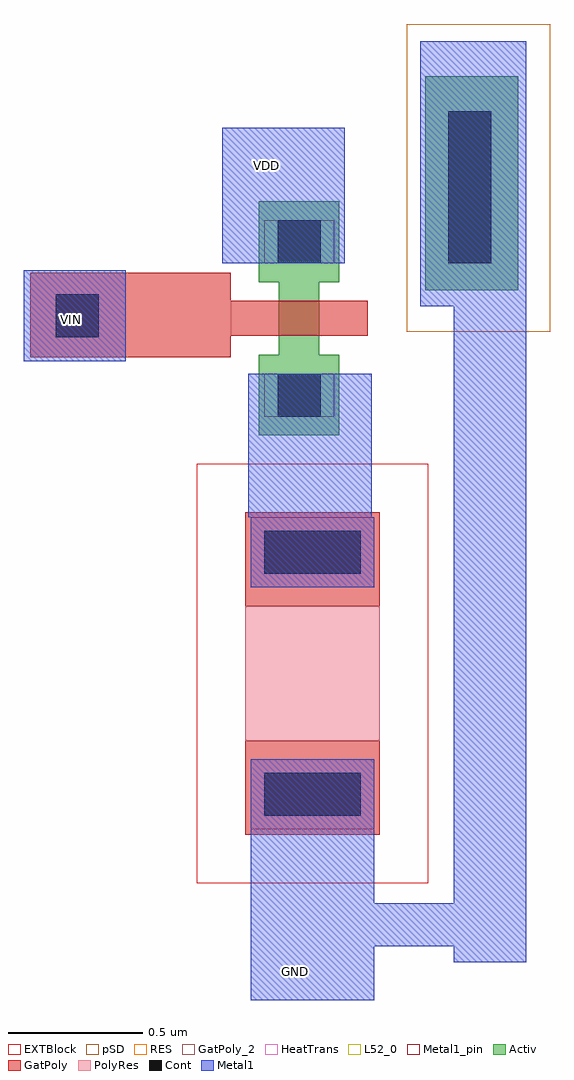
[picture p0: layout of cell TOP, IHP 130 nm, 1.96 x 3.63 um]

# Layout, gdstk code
from math import pi, radians
import gdstk
lib = gdstk.Library(unit=1e-6, precision=1e-09)
def R(c, l, rs):  # rectangles x0, y0, x1, y1
    for r in rs: c.add(gdstk.rectangle(r[:2], r[2:], *l))
Activ = (1, 0)
GatPoly = (5, 0)
GatPoly_2 = (5, 2)
Cont = (6, 0)
Metal1 = (8, 0)
Metal1_pin = (8, 2)
pSD = (14, 0)
RES = (24, 0)
HeatTrans = (51, 0)
L52_0 = (52, 0)
EXTBlock = (111, 0)
PolyRes = (128, 0)

nmos = lib.new_cell('nmos')
R(nmos, Activ, [(0,0,0.3,0.3), (0.57,0,0.87,0.3), (0,0.075,0.87,0.225)])
R(nmos, GatPoly, [(0.37,-0.105,0.5,0.405)])
R(nmos, GatPoly_2, [(0.37,-0.105,0.5,0.405)])
R(nmos, Cont, [(0.07,0.07,0.23,0.23), (0.64,0.07,0.8,0.23)])
R(nmos, Metal1, [(0.07,0.02,0.23,0.28), (0.64,0.02,0.8,0.28)])
R(nmos, Metal1_pin, [(0.07,0.02,0.23,0.28), (0.64,0.02,0.8,0.28)])
R(nmos, HeatTrans, [(0.37,-0.105,0.5,0.405)])
nmos.add(gdstk.Label('nmos', (0.435,0.15), layer=63, texttype=0))
nmos.add(gdstk.Label('nmos', (0.435,0.15), layer=51, texttype=0))

rsil = lib.new_cell('rsil')
R(rsil, GatPoly, [(0,-0.35,0.5,0), (0,0.5,0.5,0.85)])
R(rsil, Cont, [(0.07,-0.28,0.43,-0.12), (0.07,0.62,0.43,0.78)])
R(rsil, Metal1, [(0.02,-0.33,0.48,-0.07), (0.02,0.57,0.48,0.83)])
R(rsil, Metal1_pin, [(0.02,-0.33,0.48,-0.07), (0.02,0.57,0.48,0.83)])
R(rsil, RES, [(0,0,0.5,0.5)])
R(rsil, L52_0, [(0,0,0.5,0.5)])
R(rsil, EXTBlock, [(-0.18,-0.53,0.68,0), (-0.18,0,0.68,0.5), (-0.18,0,0.68,1.03)])
R(rsil, PolyRes, [(0,0,0.5,0.5)])
rsil.add(gdstk.Label('rsil', (0.25,0.25), layer=52, texttype=0))
rsil.add(gdstk.Label('rsil r=24.9', (0.25,0.25), layer=63, texttype=0))

top = lib.new_cell('TOP')
R(top, Activ, [(1.295,0.16,1.64,0.955)])
R(top, GatPoly, [(-0.175,-0.09,0.57,0.225)])
R(top, Cont, [(-0.08,-0.015,0.08,0.145), (1.38,0.26,1.54,0.825)])
R(top, Metal1, [(0.645,-2.48,1.105,-1.845), (1.4,-2.34,1.67,0.1), (1.105,-2.28,1.4,-2.12), (0.635,-0.685,1.095,-0.15), (-0.2,-0.105,0.18,0.235), (1.275,0.1,1.67,1.085), (0.54,0.26,0.995,0.765)])
R(top, pSD, [(1.225,0.005,1.76,1.15)])
top.add(gdstk.Reference(nmos, (0.675,0.49), rotation=3*pi/2))
top.add(gdstk.Reference(rsil, (1.125,-1.015), rotation=pi))
top.add(gdstk.Label('GND', (0.81,-2.375), layer=8, texttype=25))
top.add(gdstk.Label('VDD', (0.705,0.625), layer=8, texttype=25))
top.add(gdstk.Label('VIN', (-0.02,0.05), layer=8, texttype=25))

lib.write_gds('TOP.gds')
